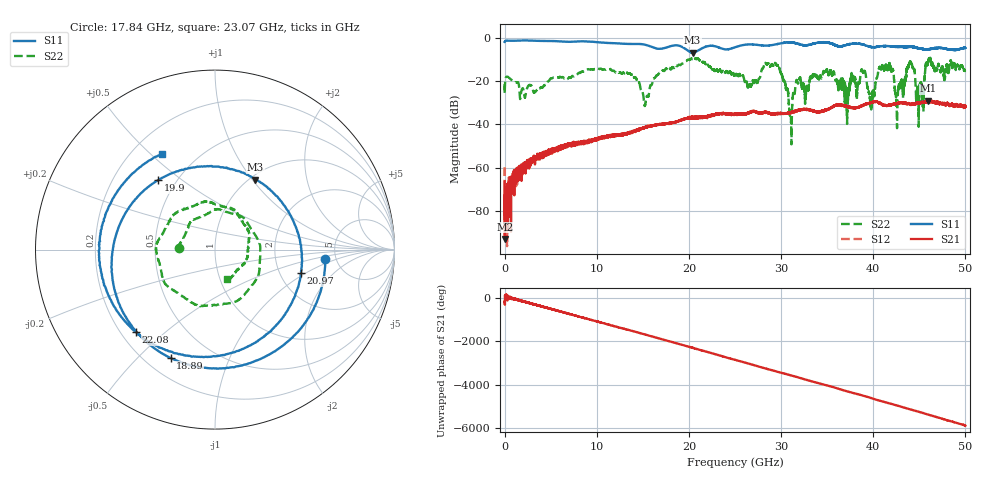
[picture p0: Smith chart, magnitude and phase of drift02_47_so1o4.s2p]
!Created with skrf (http://scikit-rf.org).
# Hz S RI R 50.0
!freq ReS11 ImS11 ReS21 ImS21 ReS12 ImS12 ReS22 ImS22
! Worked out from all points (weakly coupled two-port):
!   10001 points, 300 kHz to 50 GHz, reference 50 ohm
!   highest |S21| = -29.01 dB at 45.97 GHz (marker M1); lowest = -92.7 dB at 25.3 MHz (marker M2)
!   lowest |S11| = -6.9 dB at 20.4 GHz (marker M3), VSWR 2.64, Z = 53 + j51.9 ohm
!   |S11| at or under -10 dB: nowhere
!   |S22| runs from -49.1 to -9.2 dB; largest |S21 - S12| = 0.0033
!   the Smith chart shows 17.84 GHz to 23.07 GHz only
!   S11 on the Smith chart (normalised r, x): 17.84 GHz: 4.08, -0.72; 18.89 GHz: 0.30, -0.63; 19.9 GHz: 0.40, +0.41; 20.97 GHz: 2.62, -0.91; 22.08 GHz: 0.26, -0.40; 23.07 GHz: 0.32, +0.55
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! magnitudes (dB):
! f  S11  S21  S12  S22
! 300 kHz  -2.1  -66.3  -59.7  -21.4
! 25.3 MHz  -1.9  -92.7  -81.0  -23.2
! 8.335 GHz  -1.7  -47.9  -48.6  -15.7
! 15.32 GHz  -3.4  -41.5  -41.4  -29.5
! 16.67 GHz  -5.2  -40.0  -40.0  -17.0
! 17.84 GHz  -4.2  -39.4  -39.5  -14.0
! 18.89 GHz  -3.7  -38.4  -38.5  -12.5
! 19.9 GHz  -6.0  -37.1  -37.0  -10.1
! 20.4 GHz  -6.9  -36.9  -37.2  -9.9
! 20.97 GHz  -6.1  -36.8  -36.5  -9.7
! 22.08 GHz  -3.9  -36.4  -36.1  -12.7
! 23.07 GHz  -4.3  -35.3  -35.4  -15.0
! 25 GHz  -4.5  -35.3  -35.3  -17.4
! 29.51 GHz  -3.1  -35.0  -35.2  -12.6
! 31.04 GHz  -2.3  -34.6  -34.7  -34.7
! 33.34 GHz  -3.0  -33.6  -33.7  -18.1
! 39.83 GHz  -4.4  -29.8  -30.0  -29.4
! 41.67 GHz  -4.0  -31.1  -31.1  -13.3
! 44.18 GHz  -4.2  -30.7  -30.7  -12.3
! 44.85 GHz  -4.8  -30.2  -30.2  -25.2
! 45.97 GHz  -5.5  -29.0  -29.3  -10.7
! 50 GHz  -4.7  -31.9  -31.8  -15.9
